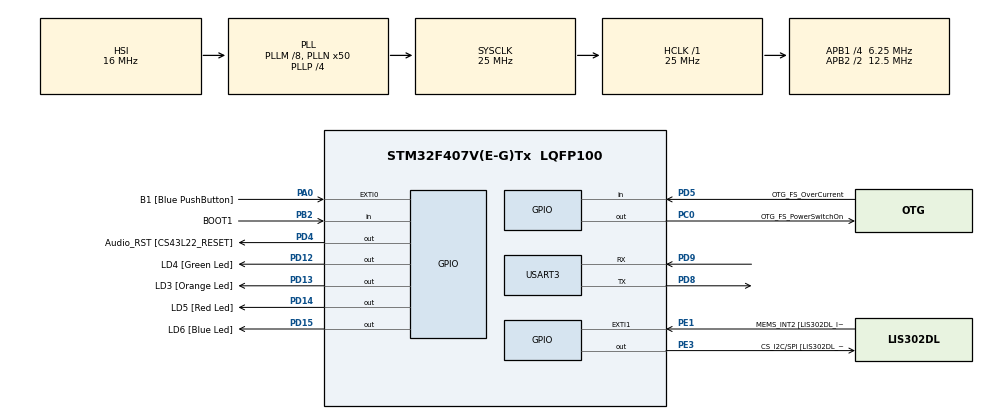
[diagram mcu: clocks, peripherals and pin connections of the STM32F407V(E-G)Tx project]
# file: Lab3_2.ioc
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FREERTOS.Tasks01=defaultTask,24,128,StartDefaultTask,Default,NULL,Dynamic,NULL,NULL
FREERTOS.configUSE_NEWLIB_REENTRANT=1
Mcu.Family=STM32F4
Mcu.Name=STM32F407V(E-G)Tx
Mcu.Package=LQFP100
NVIC.EXTI0_IRQn=true\:5\:0\:false\:false\:true\:true\:true\:true\:true
NVIC.PriorityGroup=NVIC_PRIORITYGROUP_4
NVIC.TIM1_UP_TIM10_IRQn=true\:15\:0\:false\:false\:true\:false\:false\:true\:true
NVIC.TimeBase=TIM1_UP_TIM10_IRQn
NVIC.TimeBaseIP=TIM1
PA0-WKUP.GPIO_Label=B1 [Blue PushButton]
PA0-WKUP.GPIO_ModeDefaultEXTI=GPIO_MODE_IT_FALLING
PA0-WKUP.Signal=GPXTI0
PA10.GPIO_Label=OTG_FS_ID
PA10.GPIO_Mode=GPIO_MODE_AF_PP
PA10.GPIO_PuPd=GPIO_NOPULL
PA10.GPIO_Speed=GPIO_SPEED_FREQ_LOW
PA10.Signal=USB_OTG_FS_ID
PA11.GPIO_Label=OTG_FS_DM
PA11.GPIO_Mode=GPIO_MODE_AF_PP
PA11.GPIO_PuPd=GPIO_NOPULL
PA11.GPIO_Speed=GPIO_SPEED_FREQ_LOW
PA11.Signal=USB_OTG_FS_DM
PA12.GPIO_Label=OTG_FS_DP
PA12.GPIO_Mode=GPIO_MODE_AF_PP
PA12.GPIO_PuPd=GPIO_NOPULL
PA12.GPIO_Speed=GPIO_SPEED_FREQ_LOW
PA12.Signal=USB_OTG_FS_DP
PA13.GPIO_Label=SWDIO
PA13.Signal=SYS_JTMS-SWDIO
PA14.GPIO_Label=SWCLK
PA14.Signal=SYS_JTCK-SWCLK
PA4.GPIO_Label=I2S3_WS [CS43L22_LRCK]
PA4.GPIO_Mode=GPIO_MODE_AF_PP
PA4.GPIO_PuPd=GPIO_NOPULL
PA4.GPIO_Speed=GPIO_SPEED_FREQ_LOW
PA4.Signal=I2S3_WS
PA5.GPIO_Label=SPI1_SCK [LIS302DL_SCL/SPC]
PA5.GPIO_Mode=GPIO_MODE_AF_PP
PA5.GPIO_PuPd=GPIO_NOPULL
PA5.GPIO_Speed=GPIO_SPEED_FREQ_LOW
PA5.Signal=SPI1_SCK
PA6.GPIO_Label=SPI1_MISO [LIS302DL_SDO]
PA6.GPIO_Mode=GPIO_MODE_AF_PP
PA6.GPIO_PuPd=GPIO_NOPULL
PA6.GPIO_Speed=GPIO_SPEED_FREQ_LOW
PA6.Signal=SPI1_MISO
PA7.GPIO_Label=SPI1_MOSI [LIS302DL_SDA/SDI/SDO]
PA7.GPIO_Mode=GPIO_MODE_AF_PP
PA7.GPIO_PuPd=GPIO_NOPULL
PA7.GPIO_Speed=GPIO_SPEED_FREQ_LOW
PA7.Signal=SPI1_MOSI
PA9.GPIO_Label=VBUS_FS
PA9.GPIO_Mode=GPIO_MODE_INPUT
PA9.GPIO_PuPd=GPIO_NOPULL
PA9.Signal=USB_OTG_FS_VBUS
PB10.GPIO_Label=CLK_IN [MP45DT02_CLK]
PB10.GPIO_Mode=GPIO_MODE_AF_PP
PB10.GPIO_PuPd=GPIO_NOPULL
PB10.GPIO_Speed=GPIO_SPEED_FREQ_LOW
PB10.Signal=I2S2_CK
PB2.GPIO_Label=BOOT1
PB2.GPIO_Mode=GPIO_MODE_INPUT
PB2.GPIO_PuPd=GPIO_NOPULL
PB2.Signal=GPIO_Input
PB3.GPIO_Label=SWO
PB3.Signal=SYS_JTDO-SWO
PB6.GPIO_Label=Audio_SCL [CS43L22_SCL]
PB6.GPIO_Mode=GPIO_MODE_AF_OD
PB6.GPIO_PuPd=GPIO_NOPULL
PB6.GPIO_Speed=GPIO_SPEED_FREQ_LOW
PB6.Signal=I2C1_SCL
PB9.GPIO_Label=Audio_SDA [CS43L22_SDA]
PB9.GPIO_Mode=GPIO_MODE_AF_OD
PB9.GPIO_PuPd=GPIO_NOPULL
PB9.GPIO_Speed=GPIO_SPEED_FREQ_LOW
PB9.Signal=I2C1_SDA
PC0.GPIO_Label=OTG_FS_PowerSwitchOn
PC0.GPIO_PuPd=GPIO_NOPULL
PC0.GPIO_Speed=GPIO_SPEED_FREQ_LOW
PC0.PinState=GPIO_PIN_SET
PC0.Signal=GPIO_Output
PC10.GPIO_Label=I2S3_SCK [CS43L22_SCLK]
PC10.GPIO_Mode=GPIO_MODE_AF_PP
PC10.GPIO_PuPd=GPIO_NOPULL
PC10.GPIO_Speed=GPIO_SPEED_FREQ_LOW
PC10.Signal=I2S3_CK
PC12.GPIO_Label=I2S3_SD [CS43L22_SDIN]
PC12.GPIO_Mode=GPIO_MODE_AF_PP
PC12.GPIO_PuPd=GPIO_NOPULL
PC12.GPIO_Speed=GPIO_SPEED_FREQ_LOW
PC12.Signal=I2S3_SD
PC14-OSC32_IN.GPIO_Label=PC14-OSC32_IN
PC14-OSC32_IN.Signal=RCC_OSC32_IN
PC15-OSC32_OUT.GPIO_Label=PC15-OSC32_OUT
PC15-OSC32_OUT.Signal=RCC_OSC32_OUT
PC3.GPIO_Label=PDM_OUT [MP45DT02_DOUT]
PC3.GPIO_Mode=GPIO_MODE_AF_PP
PC3.GPIO_PuPd=GPIO_NOPULL
PC3.GPIO_Speed=GPIO_SPEED_FREQ_LOW
PC3.Signal=I2S2_SD
PC7.GPIO_Label=I2S3_MCK [CS43L22_MCLK]
PC7.GPIO_Mode=GPIO_MODE_AF_PP
PC7.GPIO_PuPd=GPIO_NOPULL
PC7.GPIO_Speed=GPIO_SPEED_FREQ_LOW
PC7.Signal=I2S3_MCK
PD12.GPIO_Label=LD4 [Green Led]
PD12.GPIO_PuPd=GPIO_NOPULL
PD12.GPIO_Speed=GPIO_SPEED_FREQ_LOW
PD12.Signal=GPIO_Output
PD13.GPIO_Label=LD3 [Orange Led]
PD13.GPIO_PuPd=GPIO_NOPULL
PD13.GPIO_Speed=GPIO_SPEED_FREQ_LOW
PD13.Signal=GPIO_Output
PD14.GPIO_Label=LD5 [Red Led]
PD14.GPIO_PuPd=GPIO_NOPULL
PD14.GPIO_Speed=GPIO_SPEED_FREQ_LOW
PD14.Signal=GPIO_Output
PD15.GPIO_Label=LD6 [Blue Led]
PD15.GPIO_PuPd=GPIO_NOPULL
PD15.GPIO_Speed=GPIO_SPEED_FREQ_LOW
PD15.Signal=GPIO_Output
PD4.GPIO_Label=Audio_RST [CS43L22_RESET]
PD4.GPIO_PuPd=GPIO_NOPULL
PD4.GPIO_Speed=GPIO_SPEED_FREQ_LOW
PD4.Signal=GPIO_Output
PD5.GPIO_Label=OTG_FS_OverCurrent
PD5.GPIO_Mode=GPIO_MODE_INPUT
PD5.GPIO_PuPd=GPIO_NOPULL
PD5.Signal=GPIO_Input
PD8.Mode=Asynchronous
PD8.Signal=USART3_TX
PD9.Mode=Asynchronous
PD9.Signal=USART3_RX
PE1.GPIO_Label=MEMS_INT2 [LIS302DL_INT2]
PE1.GPIO_ModeDefaultEXTI=GPIO_MODE_EVT_RISING
PE1.GPIO_PuPd=GPIO_NOPULL
PE1.Signal=GPXTI1
PE3.GPIO_Label=CS_I2C/SPI [LIS302DL_CS_I2C/SPI]
PE3.GPIO_PuPd=GPIO_NOPULL
PE3.GPIO_Speed=GPIO_SPEED_FREQ_LOW
PE3.Signal=GPIO_Output
PH0-OSC_IN.GPIO_Label=PH0-OSC_IN
PH0-OSC_IN.Signal=RCC_OSC_IN
PH1-OSC_OUT.GPIO_Label=PH1-OSC_OUT
PH1-OSC_OUT.Signal=RCC_OSC_OUT
ProjectManager.HeapSize=0x200
ProjectManager.StackSize=0x400
ProjectManager.TargetToolchain=STM32CubeIDE
RCC.48MHZClocksFreq_Value=14285714.285714285
RCC.AHBFreq_Value=25000000
RCC.APB1CLKDivider=RCC_HCLK_DIV4
RCC.APB1Freq_Value=6250000
RCC.APB1TimFreq_Value=12500000
RCC.APB2CLKDivider=RCC_HCLK_DIV2
RCC.APB2Freq_Value=12500000
RCC.APB2TimFreq_Value=25000000
RCC.CortexFreq_Value=25000000
RCC.HCLKFreq_Value=25000000
RCC.HSE_VALUE=8000000
RCC.HSI_VALUE=16000000
RCC.LSE_VALUE=32768
RCC.PLLM=8
RCC.PLLN=50
RCC.PLLP=RCC_PLLP_DIV4
RCC.PLLQ=7
RCC.SYSCLKFreq_VALUE=25000000
RCC.SYSCLKSource=RCC_SYSCLKSOURCE_PLLCLK
RCC.VCOOutputFreq_Value=100000000
USART3.VirtualMode=VM_ASYNC
VP_FREERTOS_VS_CMSIS_V2.Mode=CMSIS_V2
VP_SYS_VS_tim1.Mode=TIM1
board=STM32F407G-DISC1

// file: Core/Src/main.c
/* USER CODE BEGIN Header */
/**
  ******************************************************************************
  * @file           : main.c
  * @brief          : Main program body
  ******************************************************************************
  * @attention
  *
  * Copyright (c) 2025 STMicroelectronics.
  * All rights reserved.
  *
  * This software is licensed under terms that can be found in the LICENSE file
  * in the root directory of this software component.
  * If no LICENSE file comes with this software, it is provided AS-IS.
  *
  ******************************************************************************
  */
/* USER CODE END Header */
#include "main.h"
#include "cmsis_os.h"

/* USER CODE BEGIN Includes */
#include "stdio.h"

/* USER CODE END Includes */

UART_HandleTypeDef huart3;

/* Definitions for defaultTask */
osThreadId_t defaultTaskHandle;
const osThreadAttr_t defaultTask_attributes = {
  .name = "defaultTask",
  .stack_size = 128 * 4,
  .priority = (osPriority_t) osPriorityNormal,
};
/* USER CODE BEGIN PV */
static const uint8_t step_sequence[8][4] =
{
    {1, 0, 0, 0},
    {1, 1, 0, 0},
    {0, 1, 0, 0},
    {0, 1, 1, 0},
    {0, 0, 1, 0},
    {0, 0, 1, 1},
    {0, 0, 0, 1},
    {1, 0, 0, 1}
};

/* USER CODE END PV */

void SystemClock_Config(void);
static void MX_GPIO_Init(void);
static void MX_USART3_UART_Init(void);
void StartDefaultTask(void *argument);

/* USER CODE BEGIN 0 */
int __io_putchar(int ch)
{
	HAL_UART_Transmit(&huart3, (uint8_t *)&ch, 1, 200);
	return ch;
}
/* USER CODE BEGIN 0 */

static void Stepper_SetStep(uint8_t step)
{
    HAL_GPIO_WritePin(GPIOD, GPIO_PIN_12,
                      step_sequence[step][0] ? GPIO_PIN_SET : GPIO_PIN_RESET);

    HAL_GPIO_WritePin(GPIOD, GPIO_PIN_13,
                      step_sequence[step][1] ? GPIO_PIN_SET : GPIO_PIN_RESET);

    HAL_GPIO_WritePin(GPIOD, GPIO_PIN_14,
                      step_sequence[step][2] ? GPIO_PIN_SET : GPIO_PIN_RESET);

    HAL_GPIO_WritePin(GPIOD, GPIO_PIN_15,
                      step_sequence[step][3] ? GPIO_PIN_SET : GPIO_PIN_RESET);
}

static void Stepper_Step(int direction)
{
    static int step = 0;

    Stepper_SetStep(step);

    if (direction > 0)
    {
        step++;
        if (step >= 8)
            step = 0;
    }
    else
    {
        step--;
        if (step < 0)
            step = 7;
    }
}

/* USER CODE END 0 */

/* USER CODE END 0 */

int main(void)
{

  /* MCU Configuration--------------------------------------------------------*/

  /* Reset of all peripherals, Initializes the Flash interface and the Systick. */
  HAL_Init();

  /* Configure the system clock */
  SystemClock_Config();

  /* Initialize all configured peripherals */
  MX_GPIO_Init();
  MX_USART3_UART_Init();

  /* Init scheduler */
  osKernelInitialize();

  /* Create the thread(s) */
  /* creation of defaultTask */
  defaultTaskHandle = osThreadNew(StartDefaultTask, NULL, &defaultTask_attributes);

  /*
  uint32_t n = 0;
  ^/
  	/* Infinite loop */
  /*
  for(;;)
  	{
  	printf("Seconds passed: \n\r ", n++);
  	if (n > 59)
  	{
  		n = 0;
  	}
  	osDelay(1000);
  	}
  */
  /* Start scheduler */
  osKernelStart();

  /* We should never get here as control is now taken by the scheduler */

  /* Infinite loop */
  while (1)
  {

    /* USER CODE BEGIN 3 */
	  Stepper_Step(1);
	    HAL_Delay(5);

  }
  /* USER CODE END 3 */
}

void SystemClock_Config(void)
{
  RCC_OscInitTypeDef RCC_OscInitStruct = {0};
  RCC_ClkInitTypeDef RCC_ClkInitStruct = {0};

  /** Configure the main internal regulator output voltage
  */
  __HAL_RCC_PWR_CLK_ENABLE();
  __HAL_PWR_VOLTAGESCALING_CONFIG(PWR_REGULATOR_VOLTAGE_SCALE1);

  /** Initializes the RCC Oscillators according to the specified parameters
  * in the RCC_OscInitTypeDef structure.
  */
  RCC_OscInitStruct.OscillatorType = RCC_OSCILLATORTYPE_HSI;
  RCC_OscInitStruct.HSIState = RCC_HSI_ON;
  RCC_OscInitStruct.HSICalibrationValue = RCC_HSICALIBRATION_DEFAULT;
  RCC_OscInitStruct.PLL.PLLState = RCC_PLL_ON;
  RCC_OscInitStruct.PLL.PLLSource = RCC_PLLSOURCE_HSI;
  RCC_OscInitStruct.PLL.PLLM = 8;
  RCC_OscInitStruct.PLL.PLLN = 50;
  RCC_OscInitStruct.PLL.PLLP = RCC_PLLP_DIV4;
  RCC_OscInitStruct.PLL.PLLQ = 7;
  if (HAL_RCC_OscConfig(&RCC_OscInitStruct) != HAL_OK)
  {
    Error_Handler();
  }

  /** Initializes the CPU, AHB and APB buses clocks
  */
  RCC_ClkInitStruct.ClockType = RCC_CLOCKTYPE_HCLK|RCC_CLOCKTYPE_SYSCLK
                              |RCC_CLOCKTYPE_PCLK1|RCC_CLOCKTYPE_PCLK2;
  RCC_ClkInitStruct.SYSCLKSource = RCC_SYSCLKSOURCE_PLLCLK;
  RCC_ClkInitStruct.AHBCLKDivider = RCC_SYSCLK_DIV1;
  RCC_ClkInitStruct.APB1CLKDivider = RCC_HCLK_DIV4;
  RCC_ClkInitStruct.APB2CLKDivider = RCC_HCLK_DIV2;

  if (HAL_RCC_ClockConfig(&RCC_ClkInitStruct, FLASH_LATENCY_0) != HAL_OK)
  {
    Error_Handler();
  }
}

static void MX_USART3_UART_Init(void)
{

  huart3.Instance = USART3;
  huart3.Init.BaudRate = 115200;
  huart3.Init.WordLength = UART_WORDLENGTH_8B;
  huart3.Init.StopBits = UART_STOPBITS_1;
  huart3.Init.Parity = UART_PARITY_NONE;
  huart3.Init.Mode = UART_MODE_TX_RX;
  huart3.Init.HwFlowCtl = UART_HWCONTROL_NONE;
  huart3.Init.OverSampling = UART_OVERSAMPLING_16;
  if (HAL_UART_Init(&huart3) != HAL_OK)
  {
    Error_Handler();
  }

}

static void MX_GPIO_Init(void)
{
  GPIO_InitTypeDef GPIO_InitStruct = {0};

  /* GPIO Ports Clock Enable */
  __HAL_RCC_GPIOE_CLK_ENABLE();
  __HAL_RCC_GPIOC_CLK_ENABLE();
  __HAL_RCC_GPIOH_CLK_ENABLE();
  __HAL_RCC_GPIOA_CLK_ENABLE();
  __HAL_RCC_GPIOB_CLK_ENABLE();
  __HAL_RCC_GPIOD_CLK_ENABLE();

  /*Configure GPIO pin Output Level */
  HAL_GPIO_WritePin(CS_I2C_SPI_GPIO_Port, CS_I2C_SPI_Pin, GPIO_PIN_RESET);

  /*Configure GPIO pin Output Level */
  HAL_GPIO_WritePin(OTG_FS_PowerSwitchOn_GPIO_Port, OTG_FS_PowerSwitchOn_Pin, GPIO_PIN_SET);

  /*Configure GPIO pin Output Level */
  HAL_GPIO_WritePin(GPIOD, LD4_Pin|LD3_Pin|LD5_Pin|LD6_Pin
                          |Audio_RST_Pin, GPIO_PIN_RESET);

  /*Configure GPIO pin : CS_I2C_SPI_Pin */
  GPIO_InitStruct.Pin = CS_I2C_SPI_Pin;
  GPIO_InitStruct.Mode = GPIO_MODE_OUTPUT_PP;
  GPIO_InitStruct.Pull = GPIO_NOPULL;
  GPIO_InitStruct.Speed = GPIO_SPEED_FREQ_LOW;
  HAL_GPIO_Init(CS_I2C_SPI_GPIO_Port, &GPIO_InitStruct);

  /*Configure GPIO pin : OTG_FS_PowerSwitchOn_Pin */
  GPIO_InitStruct.Pin = OTG_FS_PowerSwitchOn_Pin;
  GPIO_InitStruct.Mode = GPIO_MODE_OUTPUT_PP;
  GPIO_InitStruct.Pull = GPIO_NOPULL;
  GPIO_InitStruct.Speed = GPIO_SPEED_FREQ_LOW;
  HAL_GPIO_Init(OTG_FS_PowerSwitchOn_GPIO_Port, &GPIO_InitStruct);

  /*Configure GPIO pin : PDM_OUT_Pin */
  GPIO_InitStruct.Pin = PDM_OUT_Pin;
  GPIO_InitStruct.Mode = GPIO_MODE_AF_PP;
  GPIO_InitStruct.Pull = GPIO_NOPULL;
  GPIO_InitStruct.Speed = GPIO_SPEED_FREQ_LOW;
  GPIO_InitStruct.Alternate = GPIO_AF5_SPI2;
  HAL_GPIO_Init(PDM_OUT_GPIO_Port, &GPIO_InitStruct);

  /*Configure GPIO pin : B1_Pin */
  GPIO_InitStruct.Pin = B1_Pin;
  GPIO_InitStruct.Mode = GPIO_MODE_IT_FALLING;
  GPIO_InitStruct.Pull = GPIO_NOPULL;
  HAL_GPIO_Init(B1_GPIO_Port, &GPIO_InitStruct);

  /*Configure GPIO pin : I2S3_WS_Pin */
  GPIO_InitStruct.Pin = I2S3_WS_Pin;
  GPIO_InitStruct.Mode = GPIO_MODE_AF_PP;
  GPIO_InitStruct.Pull = GPIO_NOPULL;
  GPIO_InitStruct.Speed = GPIO_SPEED_FREQ_LOW;
  GPIO_InitStruct.Alternate = GPIO_AF6_SPI3;
  HAL_GPIO_Init(I2S3_WS_GPIO_Port, &GPIO_InitStruct);

  /*Configure GPIO pins : SPI1_SCK_Pin SPI1_MISO_Pin SPI1_MOSI_Pin */
  GPIO_InitStruct.Pin = SPI1_SCK_Pin|SPI1_MISO_Pin|SPI1_MOSI_Pin;
  GPIO_InitStruct.Mode = GPIO_MODE_AF_PP;
  GPIO_InitStruct.Pull = GPIO_NOPULL;
  GPIO_InitStruct.Speed = GPIO_SPEED_FREQ_LOW;
  GPIO_InitStruct.Alternate = GPIO_AF5_SPI1;
  HAL_GPIO_Init(GPIOA, &GPIO_InitStruct);

  /*Configure GPIO pin : BOOT1_Pin */
  GPIO_InitStruct.Pin = BOOT1_Pin;
  GPIO_InitStruct.Mode = GPIO_MODE_INPUT;
  GPIO_InitStruct.Pull = GPIO_NOPULL;
  HAL_GPIO_Init(BOOT1_GPIO_Port, &GPIO_InitStruct);

  /*Configure GPIO pin : CLK_IN_Pin */
  GPIO_InitStruct.Pin = CLK_IN_Pin;
  GPIO_InitStruct.Mode = GPIO_MODE_AF_PP;
  GPIO_InitStruct.Pull = GPIO_NOPULL;
  GPIO_InitStruct.Speed = GPIO_SPEED_FREQ_LOW;
  GPIO_InitStruct.Alternate = GPIO_AF5_SPI2;
  HAL_GPIO_Init(CLK_IN_GPIO_Port, &GPIO_InitStruct);

  /*Configure GPIO pins : LD4_Pin LD3_Pin LD5_Pin LD6_Pin
                           Audio_RST_Pin */
  GPIO_InitStruct.Pin = LD4_Pin|LD3_Pin|LD5_Pin|LD6_Pin
                          |Audio_RST_Pin;
  GPIO_InitStruct.Mode = GPIO_MODE_OUTPUT_PP;
  GPIO_InitStruct.Pull = GPIO_NOPULL;
  GPIO_InitStruct.Speed = GPIO_SPEED_FREQ_LOW;
  HAL_GPIO_Init(GPIOD, &GPIO_InitStruct);

  /*Configure GPIO pins : I2S3_MCK_Pin I2S3_SCK_Pin I2S3_SD_Pin */
  GPIO_InitStruct.Pin = I2S3_MCK_Pin|I2S3_SCK_Pin|I2S3_SD_Pin;
  GPIO_InitStruct.Mode = GPIO_MODE_AF_PP;
  GPIO_InitStruct.Pull = GPIO_NOPULL;
  GPIO_InitStruct.Speed = GPIO_SPEED_FREQ_LOW;
  GPIO_InitStruct.Alternate = GPIO_AF6_SPI3;
  HAL_GPIO_Init(GPIOC, &GPIO_InitStruct);

  /*Configure GPIO pin : VBUS_FS_Pin */
  GPIO_InitStruct.Pin = VBUS_FS_Pin;
  GPIO_InitStruct.Mode = GPIO_MODE_INPUT;
  GPIO_InitStruct.Pull = GPIO_NOPULL;
  HAL_GPIO_Init(VBUS_FS_GPIO_Port, &GPIO_InitStruct);

  /*Configure GPIO pins : OTG_FS_ID_Pin OTG_FS_DM_Pin OTG_FS_DP_Pin */
  GPIO_InitStruct.Pin = OTG_FS_ID_Pin|OTG_FS_DM_Pin|OTG_FS_DP_Pin;
  GPIO_InitStruct.Mode = GPIO_MODE_AF_PP;
  GPIO_InitStruct.Pull = GPIO_NOPULL;
  GPIO_InitStruct.Speed = GPIO_SPEED_FREQ_LOW;
  GPIO_InitStruct.Alternate = GPIO_AF10_OTG_FS;
  HAL_GPIO_Init(GPIOA, &GPIO_InitStruct);

  /*Configure GPIO pin : OTG_FS_OverCurrent_Pin */
  GPIO_InitStruct.Pin = OTG_FS_OverCurrent_Pin;
  GPIO_InitStruct.Mode = GPIO_MODE_INPUT;
  GPIO_InitStruct.Pull = GPIO_NOPULL;
  HAL_GPIO_Init(OTG_FS_OverCurrent_GPIO_Port, &GPIO_InitStruct);

  /*Configure GPIO pins : Audio_SCL_Pin Audio_SDA_Pin */
  GPIO_InitStruct.Pin = Audio_SCL_Pin|Audio_SDA_Pin;
  GPIO_InitStruct.Mode = GPIO_MODE_AF_OD;
  GPIO_InitStruct.Pull = GPIO_NOPULL;
  GPIO_InitStruct.Speed = GPIO_SPEED_FREQ_LOW;
  GPIO_InitStruct.Alternate = GPIO_AF4_I2C1;
  HAL_GPIO_Init(GPIOB, &GPIO_InitStruct);

  /*Configure GPIO pin : MEMS_INT2_Pin */
  GPIO_InitStruct.Pin = MEMS_INT2_Pin;
  GPIO_InitStruct.Mode = GPIO_MODE_EVT_RISING;
  GPIO_InitStruct.Pull = GPIO_NOPULL;
  HAL_GPIO_Init(MEMS_INT2_GPIO_Port, &GPIO_InitStruct);

  /* EXTI interrupt init*/
  HAL_NVIC_SetPriority(EXTI0_IRQn, 5, 0);
  HAL_NVIC_EnableIRQ(EXTI0_IRQn);

}

void StartDefaultTask(void *argument)
{
  /* USER CODE BEGIN 5 */

	/* Infinite loop */

	/*
	for(;;)
	{
		status = HAL_UART_Receive(&huart3, &chr, 1, 100);
		if (status == HAL_OK)
		{
			HAL_UART_Transmit(&huart3, &chr, 1, 100);
		}
		osDelay(1);
	}
	*/

	uint32_t n = 0;

	for(;;)
	{
	printf("Seconds passed: %lu \n\r ", n++);
	if (n > 59)
	{
		n = 0;
	}
	osDelay(1000);
	}

  /* USER CODE END 5 */
}

void HAL_TIM_PeriodElapsedCallback(TIM_HandleTypeDef *htim)
{
  if (htim->Instance == TIM1)
  {
    HAL_IncTick();
  }
}

void Error_Handler(void)
{
  __disable_irq();
  while (1)
  {
  }
}
